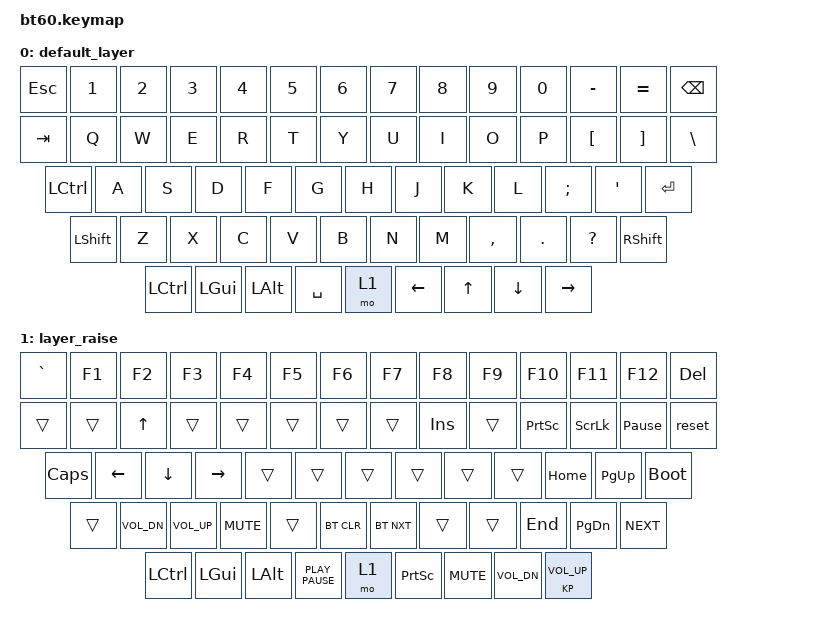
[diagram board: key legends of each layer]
#include <behaviors.dtsi>
#include <dt-bindings/zmk/keys.h>
#include <dt-bindings/zmk/bt.h>
#include <dt-bindings/zmk/rgb.h>
#include <dt-bindings/zmk/backlight.h>

/ {
    keymap {
        compatible = "zmk,keymap";


        default_layer {
            bindings = <
   &kp ESC     &kp N1    &kp N2    &kp N3     &kp N4    &kp N5            &kp N6       &kp N7     &kp N8      &kp N9    &kp N0  &kp MINUS  &kp EQUAL  &kp BSPC
   &kp TAB      &kp Q     &kp W     &kp E      &kp R     &kp T             &kp Y        &kp U      &kp I       &kp O     &kp P   &kp LBKT   &kp RBKT  &kp BSLH
  &kp LCTRL      &kp A     &kp S     &kp D      &kp F     &kp G             &kp H        &kp J      &kp K       &kp L  &kp SEMI    &kp SQT    &kp RET
 &kp LSHFT      &kp Z     &kp X     &kp C      &kp V     &kp B             &kp N        &kp M  &kp COMMA     &kp DOT  &kp QMARK  &kp RSHFT
            &kp LCTRL  &kp LGUI  &kp LALT  &kp SPACE  &mo 1            &kp LEFT  &kp UP &kp DOWN &kp RIGHT
            >;
        };

        layer_raise {
            bindings = <
  &kp GRAVE        &kp F1        &kp F2      &kp F3  &kp F4       &kp F5            &kp F6  &kp F7      &kp F8   &kp F9    &kp F10     &kp F11          &kp F12  &kp DEL
     &trans        &trans        &kp UP      &trans  &trans       &trans            &trans  &trans     &kp INS   &trans  &kp PSCRN    &kp SLCK  &kp PAUSE_BREAK   &reset
     &kp CAPSLOCK      &kp LEFT      &kp DOWN   &kp RIGHT  &trans       &trans            &trans  &trans      &trans   &trans   &kp HOME   &kp PG_UP      &bootloader
 &trans  &kp C_VOL_DN  &kp C_VOL_UP  &kp C_MUTE  &trans  &bt BT_CLR            &bt BT_NXT  &trans      &trans  &kp END  &kp PG_DN  &kp C_NEXT
               &kp LCTRL  &kp LGUI  &kp LALT  &kp K_PLAY_PAUSE           &mo 1  &kp PSCRN  &kp MUTE &kp C_VOL_DN &KP C_VOL_UP
            >;
        };

    };
};
